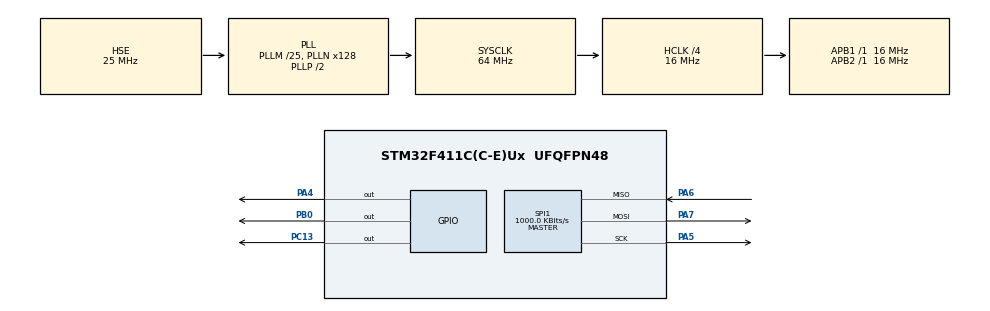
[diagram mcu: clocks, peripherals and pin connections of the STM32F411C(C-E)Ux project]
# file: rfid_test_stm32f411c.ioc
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Mcu.Family=STM32F4
Mcu.Name=STM32F411C(C-E)Ux
Mcu.Package=UFQFPN48
NVIC.PriorityGroup=NVIC_PRIORITYGROUP_4
NVIC.SPI1_IRQn=true\:0\:0\:false\:false\:true\:true\:true\:true
PA13.Mode=Serial_Wire
PA13.Signal=SYS_JTMS-SWDIO
PA14.Mode=Serial_Wire
PA14.Signal=SYS_JTCK-SWCLK
PA4.Signal=GPIO_Output
PA5.Mode=Full_Duplex_Master
PA5.Signal=SPI1_SCK
PA6.Mode=Full_Duplex_Master
PA6.Signal=SPI1_MISO
PA7.Mode=Full_Duplex_Master
PA7.Signal=SPI1_MOSI
PB0.Signal=GPIO_Output
PC13-ANTI_TAMP.Signal=GPIO_Output
PH0\ -\ OSC_IN.Mode=HSE-External-Oscillator
PH0\ -\ OSC_IN.Signal=RCC_OSC_IN
PH1\ -\ OSC_OUT.Mode=HSE-External-Oscillator
PH1\ -\ OSC_OUT.Signal=RCC_OSC_OUT
ProjectManager.HeapSize=0x200
ProjectManager.StackSize=0x400
ProjectManager.TargetToolchain=STM32CubeIDE
RCC.48MHZClocksFreq_Value=32000000
RCC.AHBCLKDivider=RCC_SYSCLK_DIV4
RCC.AHBFreq_Value=16000000
RCC.APB1Freq_Value=16000000
RCC.APB1TimFreq_Value=16000000
RCC.APB2Freq_Value=16000000
RCC.APB2TimFreq_Value=16000000
RCC.CortexFreq_Value=16000000
RCC.HCLKFreq_Value=16000000
RCC.HSE_VALUE=25000000
RCC.HSI_VALUE=16000000
RCC.LSE_VALUE=32768
RCC.PLLM=25
RCC.PLLN=128
RCC.PLLSourceVirtual=RCC_PLLSOURCE_HSE
RCC.SYSCLKFreq_VALUE=64000000
RCC.SYSCLKSource=RCC_SYSCLKSOURCE_PLLCLK
RCC.VCOOutputFreq_Value=128000000
SPI1.BaudRatePrescaler=SPI_BAUDRATEPRESCALER_16
SPI1.CalculateBaudRate=1000.0 KBits/s
SPI1.Direction=SPI_DIRECTION_2LINES
SPI1.Mode=SPI_MODE_MASTER
SPI1.VirtualType=VM_MASTER
board=custom

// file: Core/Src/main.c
/* USER CODE BEGIN Header */
/**
  ******************************************************************************
  * @file           : main.c
  * @brief          : Main program body
  ******************************************************************************
  * @attention
  *
  * Copyright (c) 2023 STMicroelectronics.
  * All rights reserved.
  *
  * This software is licensed under terms that can be found in the LICENSE file
  * in the root directory of this software component.
  * If no LICENSE file comes with this software, it is provided AS-IS.
  *
  ******************************************************************************
  */
/* USER CODE END Header */
#include "main.h"

/* USER CODE BEGIN Includes */
#include "stdio.h"
#include "stm32f1_rc522.h"
#include "string.h"
/* USER CODE END Includes */

SPI_HandleTypeDef hspi1;

/* USER CODE BEGIN PV */
//uint8_t i;
uint8_t status;
uint8_t str[MAX_LEN]; // Max_LEN = 16

uint8_t serNum[5];
//char password[16]="123456"; //Max lenght of password is 16 charaters
//char keypass[16];
//int cnt=0;
uint8_t key;
//uint8_t check,check2;

uint8_t Key_Card[4]  = {170, 49, 60, 41};
uint8_t Key_Card2[4] = {228, 85, 45, 40};

uint8_t  KEY[] = {0xFF,0xFF,0xFF,0xFF,0xFF,0xFF};
uint8_t  KEY2[]={1,2,3,4,5,6};       //{1,2,3,4,5,6};//"mohem";
//uint8_t  BLOCK_ADDRS[] =  {1}; //{1, 2, 3};

uint8_t test;
uint8_t W[]="zagros-elec";
uint8_t R[16];
/* USER CODE END PV */

void SystemClock_Config(void);
static void MX_GPIO_Init(void);
static void MX_SPI1_Init(void);

int main(void)
{

  /* MCU Configuration--------------------------------------------------------*/

  /* Reset of all peripherals, Initializes the Flash interface and the Systick. */
  HAL_Init();

  /* Configure the system clock */
  SystemClock_Config();

  /* Initialize all configured peripherals */
  MX_GPIO_Init();
  MX_SPI1_Init();
  /* USER CODE BEGIN 2 */
  MFRC522_Init();
  /* USER CODE END 2 */

  /* Infinite loop */
  /* USER CODE BEGIN WHILE */
  while (1)
  {
	  HAL_Delay(10);
	  status = MFRC522_Request(PICC_REQIDL, str);	//MFRC522_Request(0x26, str)
	  status = MFRC522_Anticoll(str);//Take a collision, look up 5 bytes
	  memcpy(serNum, str, 5);//function for c language:(para1:that place save data,para2:the the source of data,para3:size)

	  if (status == MI_OK)
	  {
		  HAL_GPIO_TogglePin(GPIOC, GPIO_PIN_13);

	  }
    /* USER CODE END WHILE */

  }
}

void SystemClock_Config(void)
{
  RCC_OscInitTypeDef RCC_OscInitStruct = {0};
  RCC_ClkInitTypeDef RCC_ClkInitStruct = {0};

  /** Configure the main internal regulator output voltage
  */
  __HAL_RCC_PWR_CLK_ENABLE();
  __HAL_PWR_VOLTAGESCALING_CONFIG(PWR_REGULATOR_VOLTAGE_SCALE1);

  /** Initializes the RCC Oscillators according to the specified parameters
  * in the RCC_OscInitTypeDef structure.
  */
  RCC_OscInitStruct.OscillatorType = RCC_OSCILLATORTYPE_HSE;
  RCC_OscInitStruct.HSEState = RCC_HSE_ON;
  RCC_OscInitStruct.PLL.PLLState = RCC_PLL_ON;
  RCC_OscInitStruct.PLL.PLLSource = RCC_PLLSOURCE_HSE;
  RCC_OscInitStruct.PLL.PLLM = 25;
  RCC_OscInitStruct.PLL.PLLN = 128;
  RCC_OscInitStruct.PLL.PLLP = RCC_PLLP_DIV2;
  RCC_OscInitStruct.PLL.PLLQ = 4;
  if (HAL_RCC_OscConfig(&RCC_OscInitStruct) != HAL_OK)
  {
    Error_Handler();
  }

  /** Initializes the CPU, AHB and APB buses clocks
  */
  RCC_ClkInitStruct.ClockType = RCC_CLOCKTYPE_HCLK|RCC_CLOCKTYPE_SYSCLK
                              |RCC_CLOCKTYPE_PCLK1|RCC_CLOCKTYPE_PCLK2;
  RCC_ClkInitStruct.SYSCLKSource = RCC_SYSCLKSOURCE_PLLCLK;
  RCC_ClkInitStruct.AHBCLKDivider = RCC_SYSCLK_DIV4;
  RCC_ClkInitStruct.APB1CLKDivider = RCC_HCLK_DIV1;
  RCC_ClkInitStruct.APB2CLKDivider = RCC_HCLK_DIV1;

  if (HAL_RCC_ClockConfig(&RCC_ClkInitStruct, FLASH_LATENCY_0) != HAL_OK)
  {
    Error_Handler();
  }
}

static void MX_SPI1_Init(void)
{

  /* SPI1 parameter configuration*/
  hspi1.Instance = SPI1;
  hspi1.Init.Mode = SPI_MODE_MASTER;
  hspi1.Init.Direction = SPI_DIRECTION_2LINES;
  hspi1.Init.DataSize = SPI_DATASIZE_8BIT;
  hspi1.Init.CLKPolarity = SPI_POLARITY_LOW;
  hspi1.Init.CLKPhase = SPI_PHASE_1EDGE;
  hspi1.Init.NSS = SPI_NSS_SOFT;
  hspi1.Init.BaudRatePrescaler = SPI_BAUDRATEPRESCALER_16;
  hspi1.Init.FirstBit = SPI_FIRSTBIT_MSB;
  hspi1.Init.TIMode = SPI_TIMODE_DISABLE;
  hspi1.Init.CRCCalculation = SPI_CRCCALCULATION_DISABLE;
  hspi1.Init.CRCPolynomial = 10;
  if (HAL_SPI_Init(&hspi1) != HAL_OK)
  {
    Error_Handler();
  }

}

static void MX_GPIO_Init(void)
{
  GPIO_InitTypeDef GPIO_InitStruct = {0};

  /* GPIO Ports Clock Enable */
  __HAL_RCC_GPIOC_CLK_ENABLE();
  __HAL_RCC_GPIOH_CLK_ENABLE();
  __HAL_RCC_GPIOA_CLK_ENABLE();
  __HAL_RCC_GPIOB_CLK_ENABLE();

  /*Configure GPIO pin Output Level */
  HAL_GPIO_WritePin(GPIOC, GPIO_PIN_13, GPIO_PIN_RESET);

  /*Configure GPIO pin Output Level */
  HAL_GPIO_WritePin(GPIOA, GPIO_PIN_4, GPIO_PIN_RESET);

  /*Configure GPIO pin Output Level */
  HAL_GPIO_WritePin(GPIOB, GPIO_PIN_0, GPIO_PIN_RESET);

  /*Configure GPIO pin : PC13 */
  GPIO_InitStruct.Pin = GPIO_PIN_13;
  GPIO_InitStruct.Mode = GPIO_MODE_OUTPUT_PP;
  GPIO_InitStruct.Pull = GPIO_NOPULL;
  GPIO_InitStruct.Speed = GPIO_SPEED_FREQ_LOW;
  HAL_GPIO_Init(GPIOC, &GPIO_InitStruct);

  /*Configure GPIO pin : PA4 */
  GPIO_InitStruct.Pin = GPIO_PIN_4;
  GPIO_InitStruct.Mode = GPIO_MODE_OUTPUT_PP;
  GPIO_InitStruct.Pull = GPIO_NOPULL;
  GPIO_InitStruct.Speed = GPIO_SPEED_FREQ_LOW;
  HAL_GPIO_Init(GPIOA, &GPIO_InitStruct);

  /*Configure GPIO pin : PB0 */
  GPIO_InitStruct.Pin = GPIO_PIN_0;
  GPIO_InitStruct.Mode = GPIO_MODE_OUTPUT_PP;
  GPIO_InitStruct.Pull = GPIO_NOPULL;
  GPIO_InitStruct.Speed = GPIO_SPEED_FREQ_LOW;
  HAL_GPIO_Init(GPIOB, &GPIO_InitStruct);

}

void Error_Handler(void)
{
  __disable_irq();
  while (1)
  {
  }
}
